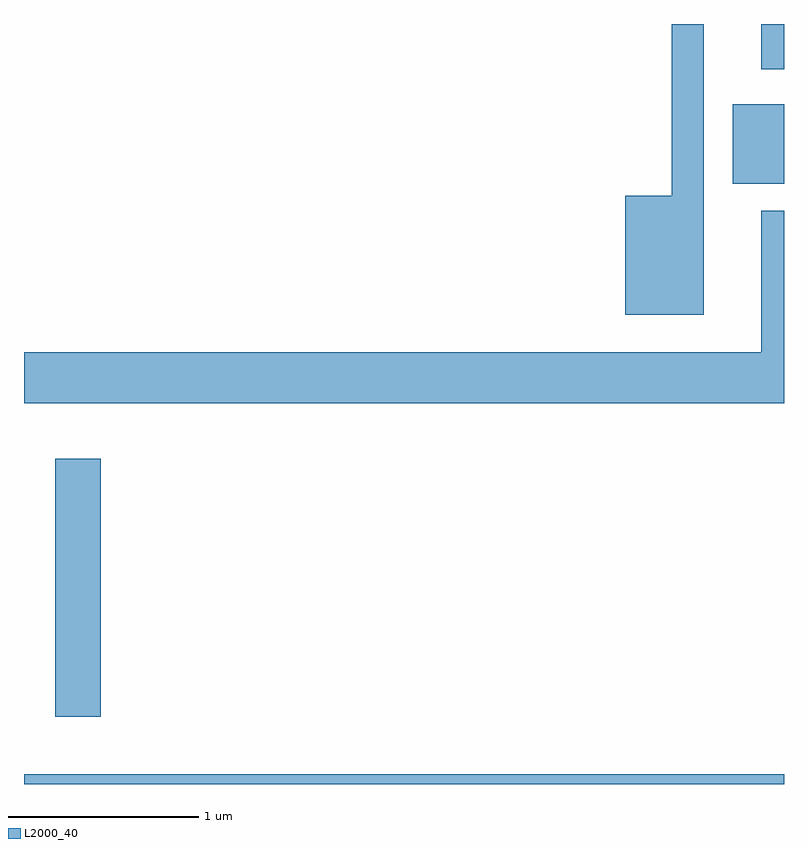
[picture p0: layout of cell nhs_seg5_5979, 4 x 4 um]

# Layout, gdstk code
import gdstk
lib = gdstk.Library(unit=1e-6, precision=1e-09)
def R(c, l, rs):  # rectangles x0, y0, x1, y1
    for r in rs: c.add(gdstk.rectangle(r[:2], r[2:], *l))
def P(c, l, *ps):  # polygons
    for p in ps: c.add(gdstk.Polygon(p, *l))
L2000_40 = (2000, 40)

nhs_seg5_5979 = lib.new_cell('nhs_seg5_5979')
R(nhs_seg5_5979, L2000_40, [(361.611,1508.072,365.611,1508.124), (361.776,1508.426,362.014,1509.784), (365.341,1511.231,365.611,1511.649), (365.491,1511.833,365.611,1512.072)])
P(nhs_seg5_5979, L2000_40, [(365.189,1512.072),(365.021,1512.072),(365.021,1511.169),(364.776,1511.169),(364.776,1510.541),(365.189,1510.541)],
  [(365.611,1511.088),(365.491,1511.088),(365.491,1510.344),(361.611,1510.344),(361.611,1510.076),(365.611,1510.076)])

lib.write_gds('nhs_seg5_5979.gds')
